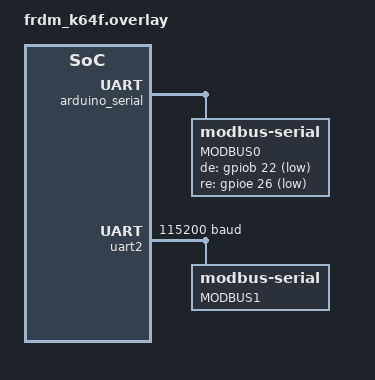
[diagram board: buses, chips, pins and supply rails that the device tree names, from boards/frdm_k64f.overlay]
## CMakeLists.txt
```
# Copyright (c) 2020 PHYTEC Messtechnik GmbH
# SPDX-License-Identifier: Apache-2.0

cmake_minimum_required(VERSION 3.13.1)

find_package(Zephyr REQUIRED HINTS $ENV{ZEPHYR_BASE})
project(test_modbus)

target_sources(app PRIVATE
    src/main.c
    src/test_modbus_client.c
    src/test_modbus_server.c
    src/test_modbus_raw.c
    )
```

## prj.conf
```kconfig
# Copyright (c) 2020 PHYTEC Messtechnik GmbH
# SPDX-License-Identifier: Apache-2.0

CONFIG_LOG=y
CONFIG_ZTEST=y
CONFIG_SERIAL=y
CONFIG_UART_INTERRUPT_DRIVEN=y
CONFIG_UART_LINE_CTRL=n
CONFIG_MODBUS_ASCII_MODE=y

CONFIG_MODBUS=y
CONFIG_MODBUS_RAW_ADU=y
CONFIG_MODBUS_NUMOF_RAW_ADU=2
```

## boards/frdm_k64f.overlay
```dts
/*
 * Copyright (c) 2020 Phytec Messtechnik GmbH
 *
 * SPDX-License-Identifier: Apache-2.0
 */

&arduino_serial {
	status = "okay";

	modbus0 {
		compatible = "zephyr,modbus-serial";
		label = "MODBUS0";
		status = "okay";
		de-gpios = <&gpiob 22 GPIO_ACTIVE_LOW>;	/* red LED */
		re-gpios = <&gpioe 26 GPIO_ACTIVE_LOW>;	/* green LED */
	};
};

&uart2 {
	status = "okay";
	current-speed = <115200>;

	modbus1 {
		compatible = "zephyr,modbus-serial";
		label = "MODBUS1";
		status = "okay";
	};
};
```

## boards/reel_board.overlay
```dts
/*
 * Copyright (c) 2020 Phytec Messtechnik GmbH
 *
 * SPDX-License-Identifier: Apache-2.0
 */

&arduino_serial {
	status = "okay";

	modbus0 {
		compatible = "zephyr,modbus-serial";
		label = "MODBUS0";
		status = "okay";
	};
};
```

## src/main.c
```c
/*
 * Copyright (c) 2020 PHYTEC Messtechnik GmbH
 *
 * SPDX-License-Identifier: Apache-2.0
 */

#include "test_modbus.h"

void test_main(void)
{
	ztest_test_suite(modbus_client_test,
			 ztest_unit_test(test_server_setup_low_none),
			 ztest_unit_test(test_client_setup_low_none),
			 ztest_unit_test(test_coil_wr_rd),
			 ztest_unit_test(test_di_rd),
			 ztest_unit_test(test_input_reg),
			 ztest_unit_test(test_holding_reg),
			 ztest_unit_test(test_diagnostic),
			 ztest_unit_test(test_client_disable),
			 ztest_unit_test(test_server_disable),
			 ztest_unit_test(test_server_setup_low_odd),
			 ztest_unit_test(test_client_setup_low_odd),
			 ztest_unit_test(test_coil_wr_rd),
			 ztest_unit_test(test_di_rd),
			 ztest_unit_test(test_input_reg),
			 ztest_unit_test(test_holding_reg),
			 ztest_unit_test(test_diagnostic),
			 ztest_unit_test(test_client_disable),
			 ztest_unit_test(test_server_disable),
			 ztest_unit_test(test_server_setup_high_even),
			 ztest_unit_test(test_client_setup_high_even),
			 ztest_unit_test(test_coil_wr_rd),
			 ztest_unit_test(test_di_rd),
			 ztest_unit_test(test_input_reg),
			 ztest_unit_test(test_holding_reg),
			 ztest_unit_test(test_diagnostic),
			 ztest_unit_test(test_client_disable),
			 ztest_unit_test(test_server_disable),
			 ztest_unit_test(test_server_setup_ascii),
			 ztest_unit_test(test_client_setup_ascii),
			 ztest_unit_test(test_coil_wr_rd),
			 ztest_unit_test(test_di_rd),
			 ztest_unit_test(test_input_reg),
			 ztest_unit_test(test_holding_reg),
			 ztest_unit_test(test_diagnostic),
			 ztest_unit_test(test_client_disable),
			 ztest_unit_test(test_server_disable),
			 ztest_unit_test(test_server_setup_raw),
			 ztest_unit_test(test_client_setup_raw),
			 ztest_unit_test(test_coil_wr_rd),
			 ztest_unit_test(test_di_rd),
			 ztest_unit_test(test_input_reg),
			 ztest_unit_test(test_holding_reg),
			 ztest_unit_test(test_diagnostic),
			 ztest_unit_test(test_client_disable),
			 ztest_unit_test(test_server_disable)
			 );
	ztest_run_test_suite(modbus_client_test);
}
```

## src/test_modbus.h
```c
/*
 * Copyright (c) 2020 PHYTEC Messtechnik GmbH
 *
 * SPDX-License-Identifier: Apache-2.0
 */

#ifndef __TEST_MODBUS_H__
#define __TEST_MODBUS_H__

#include <drivers/uart.h>
#include <ztest.h>
#include <modbus/modbus.h>

#define MB_TEST_BAUDRATE_LOW	9600
#define MB_TEST_BAUDRATE_HIGH	115200
#define MB_TEST_PARITY		UART_CFG_PARITY_NONE
#define MB_TEST_RESPONSE_TO	50000
#define MB_TEST_NODE_ADDR	0x01
#define MB_TEST_FP_OFFSET	5000

/*
 * Integration platform for this test is FRDM-K64F.
 * The board must be prepared accordingly:
 * UART1(PTB16)-RX <-> UART2(PTD3)-TX pins and
 * UART1(PTB17)-TX <-> UART2(PTD2)-RX pins have to be connected.
 */

uint8_t test_get_client_iface(void);
uint8_t test_get_server_iface(void);

void test_server_setup_low_none(void);
void test_server_setup_low_odd(void);
void test_server_setup_high_even(void);
void test_server_setup_ascii(void);
void test_server_setup_raw(void);
void test_server_disable(void);

void test_client_setup_low_none(void);
void test_client_setup_low_odd(void);
void test_client_setup_high_even(void);
void test_client_setup_ascii(void);
void test_client_setup_raw(void);
void test_coil_wr_rd(void);
void test_di_rd(void);
void test_input_reg(void);
void test_holding_reg(void);
void test_diagnostic(void);
void test_client_disable(void);

int client_raw_cb(const int iface, const struct modbus_adu *adu);
int server_raw_cb(const int iface, const struct modbus_adu *adu);

#endif /* __TEST_MODBUS_H__ */
```

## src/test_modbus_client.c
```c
/*
 * Copyright (c) 2020 PHYTEC Messtechnik GmbH
 *
 * SPDX-License-Identifier: Apache-2.0
 */

#include "test_modbus.h"

#include <logging/log.h>
LOG_MODULE_REGISTER(mbc_test, LOG_LEVEL_INF);

#ifdef CONFIG_MODBUS_CLIENT
const static uint16_t fp_offset = MB_TEST_FP_OFFSET;
const static uint8_t node = MB_TEST_NODE_ADDR;
const static uint16_t offset_oor = 32;
const static uint16_t fp_offset_oor = fp_offset + offset_oor;

static uint8_t client_iface;

uint8_t test_get_client_iface(void)
{
	return client_iface;
}

void test_coil_wr_rd(void)
{
	const uint8_t coil_qty = 16;
	uint8_t coil[3] = {0};
	int err;

	for (uint16_t idx = 0; idx < coil_qty; idx++) {
		err = modbus_write_coil(client_iface, node, idx, true);
		zassert_equal(err, 0, "FC05 request failed");
	}

	err = modbus_read_coils(client_iface, node, 0, coil, coil_qty);
	zassert_equal(err, 0, "FC01 request failed");

	zassert_equal(coil[0], 0xff, "FC05 verify coil 0-7 failed");
	zassert_equal(coil[1], 0xff, "FC05 verify coil 8-15 failed");

	for (uint16_t numof = 1; numof <= coil_qty; numof++) {
		err = modbus_write_coils(client_iface, node, 0, coil, numof);
		zassert_equal(err, 0, "FC15 request failed");
	}

	coil[0] = 0xaa; coil[1] = 0xbb;
	err = modbus_write_coils(client_iface, node, 0, coil, coil_qty);
	zassert_equal(err, 0, "FC15 request failed");

	err = modbus_read_coils(client_iface, node, 0, coil, coil_qty);
	zassert_equal(err, 0, "FC01 request failed");

	zassert_equal(coil[0], 0xaa, "FC15 verify coil 0-7 failed");
	zassert_equal(coil[1], 0xbb, "FC15 verify coil 8-15 failed");

	err = modbus_write_coil(client_iface, node, offset_oor, true);
	zassert_not_equal(err, 0, "FC05 out of range request not failed");

	err = modbus_write_coils(client_iface, node, offset_oor, coil, coil_qty);
	zassert_not_equal(err, 0, "FC15 out of range request not failed");
}

void test_di_rd(void)
{
	const uint8_t di_qty = 16;
	uint8_t di[4] = {0};
	int err;

	err = modbus_read_dinputs(client_iface, node, 0, di, di_qty);
	zassert_equal(err, 0, "FC02 request failed");

	zassert_equal(di[0], 0xaa, "FC02 verify di 0-7 failed");
	zassert_equal(di[1], 0xbb, "FC02 verify di 8-15 failed");

	err = modbus_read_dinputs(client_iface, node, 0, di, di_qty + 1);
	zassert_not_equal(err, 0, "FC02 out of range request not failed");

	err = modbus_read_dinputs(client_iface, node, offset_oor, di, di_qty);
	zassert_not_equal(err, 0, "FC02 out of range request not failed");
}

void test_input_reg(void)
{
	uint16_t ir[8] = {0};
	int err;

	err = modbus_write_holding_reg(client_iface, node, 0, 0xcafe);
	zassert_equal(err, 0, "FC06 write request for FC04 failed");

	err = modbus_read_input_regs(client_iface, node, 0, ir, ARRAY_SIZE(ir));
	zassert_equal(err, 0, "FC04 request failed");

	zassert_equal(ir[0], 0xcafe, "FC04 verify failed");

	err = modbus_read_input_regs(client_iface,
				     node,
				     offset_oor,
				     ir,
				     ARRAY_SIZE(ir));
	zassert_not_equal(err, 0, "FC04 out of range request not failed");
}

void test_holding_reg(void)
{
	uint16_t hr_wr[8] = {0, 2, 1, 3, 5, 4, 7, 6};
	uint16_t hr_rd[8] = {0};
	float fhr_wr[4] = {48.56470489501953125, 0.3, 0.2, 0.1};
	float fhr_rd[4] = {0.0};
	int err;

	/* Test FC06 | FC03 */
	for (uint16_t idx = 0; idx < ARRAY_SIZE(hr_wr); idx++) {
		err = modbus_write_holding_reg(client_iface, node, idx, hr_wr[idx]);
		zassert_equal(err, 0, "FC06 write request failed");
	}

	err = modbus_write_holding_reg(client_iface, node, offset_oor, 0xcafe);
	zassert_not_equal(err, 0, "FC06 out of range request not failed");

	err = modbus_read_holding_regs(client_iface, node, 0,
				       hr_rd, ARRAY_SIZE(hr_rd));
	zassert_equal(err, 0, "FC03 read request failed");

	LOG_HEXDUMP_DBG(hr_rd, sizeof(hr_rd), "FC06, hr_rd");
	zassert_equal(memcmp(hr_wr, hr_rd, sizeof(hr_wr)), 0,
		      "FC06 verify failed");

	err = modbus_read_holding_regs(client_iface,
				       node,
				       offset_oor,
				       hr_rd,
				       ARRAY_SIZE(hr_rd));
	zassert_not_equal(err, 0, "FC03 out of range request not failed");

	/* Test FC16 | FC03 */
	err = modbus_write_holding_regs(client_iface, node, 0,
					hr_wr, ARRAY_SIZE(hr_wr));
	zassert_equal(err, 0, "FC16 write request failed");

	err = modbus_read_holding_regs(client_iface, node, 0,
				       hr_rd, ARRAY_SIZE(hr_rd));
	zassert_equal(err, 0, "FC03 read request failed");

	LOG_HEXDUMP_DBG(hr_rd, sizeof(hr_rd), "FC16, hr_rd");
	zassert_equal(memcmp(hr_wr, hr_rd, sizeof(hr_wr)), 0,
		      "FC16 verify failed");

	/* Test FC16 | FC03 */
	for (uint16_t idx = 0; idx < ARRAY_SIZE(fhr_wr); idx++) {
		err = modbus_write_holding_regs_fp(client_iface,
						 node,
						 fp_offset + idx,
						 &fhr_wr[0], 1);
		zassert_equal(err, 0, "FC16 write request failed");
	}

	err = modbus_write_holding_regs_fp(client_iface,
					   node,
					   fp_offset,
					   fhr_wr,
					   ARRAY_SIZE(fhr_wr));
	zassert_equal(err, 0, "FC16 FP request failed");

	err = modbus_write_holding_regs_fp(client_iface,
					   node,
					   fp_offset_oor,
					   fhr_wr,
					   ARRAY_SIZE(fhr_wr));
	zassert_not_equal(err, 0, "FC16 FP out of range request not failed");

	err = modbus_read_holding_regs_fp(client_iface,
					  node,
					  fp_offset_oor,
					  fhr_wr,
					  ARRAY_SIZE(fhr_wr));
	zassert_not_equal(err, 0, "FC16 FP out of range request not failed");

	err = modbus_read_holding_regs_fp(client_iface,
					  node,
					  fp_offset,
					  fhr_rd,
					  ARRAY_SIZE(fhr_rd));
	zassert_equal(err, 0, "FC03 read request failed");

	LOG_HEXDUMP_DBG(fhr_rd, sizeof(fhr_rd), "FC16FP, fhr_rd");
	zassert_equal(memcmp(fhr_wr, fhr_rd, sizeof(fhr_wr)), 0,
		      "FC16FP verify failed");
}

void test_diagnostic(void)
{
	uint16_t data = 0xcafe;
	int err;

	for (uint16_t sf = 0x0A; sf < 0x0F; sf++) {
		err = modbus_request_diagnostic(client_iface, node, sf, 0, &data);
		zassert_equal(err, 0, "FC08:0x%04x request failed", sf);
	}

	err = modbus_request_diagnostic(client_iface, node, 0xFF, 0, &data);
	zassert_not_equal(err, 0, "FC08 not supported request not failed");
}

static struct modbus_iface_param client_param = {
	.mode = MODBUS_MODE_RTU,
	.rx_timeout = MB_TEST_RESPONSE_TO,
	.serial = {
		.baud = MB_TEST_BAUDRATE_LOW,
		.parity = UART_CFG_PARITY_ODD,
	},
};

void test_client_setup_low_none(void)
{
	int err;
	const char iface_name[] = {DT_PROP_OR(DT_INST(0, zephyr_modbus_serial),
					      label, "")};

	client_iface = modbus_iface_get_by_name(iface_name);
	client_param.mode = MODBUS_MODE_RTU;
	client_param.serial.baud = MB_TEST_BAUDRATE_LOW;
	client_param.serial.parity = UART_CFG_PARITY_NONE;

	err = modbus_init_client(client_iface, client_param);
	zassert_equal(err, 0, "Failed to configure RTU client");
}

void test_client_setup_low_odd(void)
{
	int err;
	const char iface_name[] = {DT_PROP_OR(DT_INST(0, zephyr_modbus_serial),
					      label, "")};

	client_iface = modbus_iface_get_by_name(iface_name);
	client_param.mode = MODBUS_MODE_RTU;
	client_param.serial.baud = MB_TEST_BAUDRATE_LOW;
	client_param.serial.parity = UART_CFG_PARITY_ODD;

	err = modbus_init_client(client_iface, client_param);
	zassert_equal(err, 0, "Failed to configure RTU client");
}

void test_client_setup_high_even(void)
{
	int err;
	const char iface_name[] = {DT_PROP_OR(DT_INST(0, zephyr_modbus_serial),
					      label, "")};

	client_iface = modbus_iface_get_by_name(iface_name);
	client_param.mode = MODBUS_MODE_RTU;
	client_param.serial.baud = MB_TEST_BAUDRATE_HIGH;
	client_param.serial.parity = UART_CFG_PARITY_EVEN;

	err = modbus_init_client(client_iface, client_param);
	zassert_equal(err, 0, "Failed to configure RTU client");
}

void test_client_setup_ascii(void)
{
	int err;
	const char iface_name[] = {DT_PROP_OR(DT_INST(0, zephyr_modbus_serial),
					      label, "")};

	client_iface = modbus_iface_get_by_name(iface_name);
	client_param.mode = MODBUS_MODE_ASCII;
	client_param.serial.baud = MB_TEST_BAUDRATE_HIGH;
	client_param.serial.parity = UART_CFG_PARITY_EVEN;

	err = modbus_init_client(client_iface, client_param);

	zassert_equal(err, 0, "Failed to configure RTU client");
}

void test_client_setup_raw(void)
{
	char iface_name[] = "RAW_0";
	int err;

	client_iface = modbus_iface_get_by_name(iface_name);
	client_param.mode = MODBUS_MODE_RAW;
	client_param.raw_tx_cb = client_raw_cb;

	err = modbus_init_client(client_iface, client_param);
	zassert_equal(err, 0, "Failed to configure RAW client");
}

void test_client_disable(void)
{
	int err;

	err = modbus_disable(client_iface);
	zassert_equal(err, 0, "Failed to disable RTU client");
}

#else

void test_client_setup_low_none(void)
{
	ztest_test_skip();
}

void test_client_setup_low_odd(void)
{
	ztest_test_skip();
}

void test_client_setup_high_even(void)
{
	ztest_test_skip();
}

void test_client_setup_ascii(void)
{
	ztest_test_skip();
}

void test_coil_wr_rd(void)
{
	ztest_test_skip();
}

void test_di_rd(void)
{
	ztest_test_skip();
}

void test_input_reg(void)
{
	ztest_test_skip();
}

void test_holding_reg(void)
{
	ztest_test_skip();
}

void test_diagnostic(void)
{
	ztest_test_skip();
}

void test_client_disable(void)
{
	ztest_test_skip();
}

void test_client_setup_raw(void)
{
	ztest_test_skip();
}
#endif
```

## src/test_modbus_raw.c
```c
/*
 * Copyright (c) 2021 Nordic Semiconductor ASA
 *
 * SPDX-License-Identifier: Apache-2.0
 */

#include "test_modbus.h"

#include <logging/log.h>
LOG_MODULE_REGISTER(raw_test, LOG_LEVEL_INF);

static struct modbus_adu tmp_adu;
K_SEM_DEFINE(received, 0, 1);

/*
 * Server wants to send the data back.
 * We just store them in between and pass them to the client.
 */
int server_raw_cb(const int iface, const struct modbus_adu *adu)
{
	LOG_DBG("Server raw callback from interface %d", iface);

	tmp_adu.trans_id = adu->trans_id;
	tmp_adu.proto_id = adu->proto_id;
	tmp_adu.length = adu->length;
	tmp_adu.unit_id = adu->unit_id;
	tmp_adu.fc = adu->fc;
	memcpy(tmp_adu.data, adu->data,
	       MIN(adu->length, sizeof(tmp_adu.data)));

	LOG_HEXDUMP_DBG(tmp_adu.data, tmp_adu.length, "resp");
	k_sem_give(&received);

	return 0;
}

/*
 * Client wants to send the data via whatever.
 * We just store it in between and submit to the server.
 */
int client_raw_cb(const int iface, const struct modbus_adu *adu)
{
	uint8_t server_iface = test_get_server_iface();
	uint8_t client_iface = test_get_client_iface();

	LOG_DBG("Client raw callback from interface %d", iface);

	tmp_adu.trans_id = adu->trans_id;
	tmp_adu.proto_id = adu->proto_id;
	tmp_adu.length = adu->length;
	tmp_adu.unit_id = adu->unit_id;
	tmp_adu.fc = adu->fc;
	memcpy(tmp_adu.data, adu->data,
	       MIN(adu->length, sizeof(tmp_adu.data)));

	LOG_HEXDUMP_DBG(tmp_adu.data, tmp_adu.length, "c->s");

	/*
	 * modbus_raw_submit_rx() copies the data to the internal memory
	 * so that tmp_adu can be used immediately afterwards.
	 */
	modbus_raw_submit_rx(server_iface, &tmp_adu);

	if (k_sem_take(&received, K_MSEC(1000)) != 0) {
		zassert_true(0, "MODBUS RAW wait time expired");
	}

	modbus_raw_submit_rx(client_iface, &tmp_adu);

	return 0;
}
```

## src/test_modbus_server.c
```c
/*
 * Copyright (c) 2020 PHYTEC Messtechnik GmbH
 *
 * SPDX-License-Identifier: Apache-2.0
 */

#include "test_modbus.h"

#include <logging/log.h>
LOG_MODULE_REGISTER(mbs_test, LOG_LEVEL_INF);

const static uint16_t fp_offset = MB_TEST_FP_OFFSET;
static uint16_t coils;
static uint16_t holding_reg[8];
static float holding_fp[4];

uint8_t server_iface;

uint8_t test_get_server_iface(void)
{
	return server_iface;
}

static int coil_rd(uint16_t addr, bool *state)
{
	if (addr >= (sizeof(coils) * 8)) {
		return -ENOTSUP;
	}

	if (coils & BIT(addr)) {
		*state = true;
	} else {
		*state = false;
	}

	LOG_DBG("Coil read, addr %u, %d", addr, (int)*state);

	return 0;
}

static int coil_wr(uint16_t addr, bool state)
{
	if (addr >= (sizeof(coils) * 8)) {
		return -ENOTSUP;
	}

	if (state == true) {
		coils |= BIT(addr);
	} else {
		coils &= ~BIT(addr);
	}

	LOG_DBG("Coil write, addr %u, %d", addr, (int)state);

	return 0;
}

static int discrete_input_rd(uint16_t addr, bool *state)
{
	if (addr >= (sizeof(coils) * 8)) {
		return -ENOTSUP;
	}

	if (coils & BIT(addr)) {
		*state = true;
	} else {
		*state = false;
	}

	LOG_DBG("Discrete input read, addr %u, %d", addr, (int)*state);

	return 0;
}

static int input_reg_rd(uint16_t addr, uint16_t *reg)
{
	if (addr >= ARRAY_SIZE(holding_reg)) {
		return -ENOTSUP;
	}

	*reg = holding_reg[addr];

	LOG_DBG("Input register read, addr %u, 0x%04x", addr, *reg);

	return 0;
}

static int input_reg_rd_fp(uint16_t addr, float *reg)
{
	if ((addr < fp_offset) ||
	    (addr >= (ARRAY_SIZE(holding_fp) + fp_offset))) {
		return -ENOTSUP;
	}

	*reg = holding_fp[addr - fp_offset];

	LOG_DBG("FP input register read, addr %u", addr);

	return 0;
}

static int holding_reg_rd(uint16_t addr, uint16_t *reg)
{
	if (addr >= ARRAY_SIZE(holding_reg)) {
		return -ENOTSUP;
	}

	*reg = holding_reg[addr];

	LOG_DBG("Holding register read, addr %u", addr);

	return 0;
}

static int holding_reg_wr(uint16_t addr, uint16_t reg)
{
	if (addr >= ARRAY_SIZE(holding_reg)) {
		return -ENOTSUP;
	}

	holding_reg[addr] = reg;

	LOG_DBG("Holding register write, addr %u", addr);

	return 0;
}

static int holding_reg_rd_fp(uint16_t addr, float *reg)
{
	if ((addr < fp_offset) ||
	    (addr >= (ARRAY_SIZE(holding_fp) + fp_offset))) {
		return -ENOTSUP;
	}

	*reg = holding_fp[addr - fp_offset];

	LOG_DBG("FP holding register read, addr %u", addr);

	return 0;
}

static int holding_reg_wr_fp(uint16_t addr, float reg)
{
	if ((addr < fp_offset) ||
	    (addr >= (ARRAY_SIZE(holding_fp) + fp_offset))) {
		return -ENOTSUP;
	}

	holding_fp[addr - fp_offset] = reg;

	LOG_DBG("FP holding register write, addr %u", addr);

	return 0;
}

static struct modbus_user_callbacks mbs_cbs = {
	/** Coil read/write callback */
	.coil_rd = coil_rd,
	.coil_wr = coil_wr,
	/* Discrete Input read callback */
	.discrete_input_rd = discrete_input_rd,
	/* Input Register read callback */
	.input_reg_rd = input_reg_rd,
	/* Floating Point Input Register read callback */
	.input_reg_rd_fp = input_reg_rd_fp,
	/* Holding Register read/write callback */
	.holding_reg_rd = holding_reg_rd,
	.holding_reg_wr = holding_reg_wr,
	/* Floating Point Holding Register read/write callback */
	.holding_reg_rd_fp = holding_reg_rd_fp,
	.holding_reg_wr_fp = holding_reg_wr_fp,
};

static struct modbus_iface_param server_param = {
	.mode = MODBUS_MODE_RTU,
	.server = {
		.user_cb = &mbs_cbs,
		.unit_id = MB_TEST_NODE_ADDR,
	},
	.serial = {
		.baud = MB_TEST_BAUDRATE_LOW,
		.parity = UART_CFG_PARITY_ODD,
	},
};

void test_server_setup_low_odd(void)
{
	int err;
	const char iface_name[] = {DT_PROP_OR(DT_INST(1, zephyr_modbus_serial),
					      label, "")};

	server_iface = modbus_iface_get_by_name(iface_name);
	server_param.mode = MODBUS_MODE_RTU;
	server_param.serial.baud = MB_TEST_BAUDRATE_LOW;
	server_param.serial.parity = UART_CFG_PARITY_ODD;

	if (IS_ENABLED(CONFIG_MODBUS_SERVER)) {
		err = modbus_init_server(server_iface, server_param);
		zassert_equal(err, 0, "Failed to configure RTU server");
	} else {
		ztest_test_skip();
	}
}

void test_server_setup_low_none(void)
{
	int err;
	const char iface_name[] = {DT_PROP_OR(DT_INST(1, zephyr_modbus_serial),
					      label, "")};

	server_iface = modbus_iface_get_by_name(iface_name);
	server_param.mode = MODBUS_MODE_RTU;
	server_param.serial.baud = MB_TEST_BAUDRATE_LOW;
	server_param.serial.parity = UART_CFG_PARITY_NONE;

	if (IS_ENABLED(CONFIG_MODBUS_SERVER)) {
		err = modbus_init_server(server_iface, server_param);
		zassert_equal(err, 0, "Failed to configure RTU server");
	} else {
		ztest_test_skip();
	}
}

void test_server_setup_high_even(void)
{
	int err;
	const char iface_name[] = {DT_PROP_OR(DT_INST(1, zephyr_modbus_serial),
					      label, "")};

	server_iface = modbus_iface_get_by_name(iface_name);
	server_param.mode = MODBUS_MODE_RTU;
	server_param.serial.baud = MB_TEST_BAUDRATE_HIGH;
	server_param.serial.parity = UART_CFG_PARITY_EVEN;

	if (IS_ENABLED(CONFIG_MODBUS_SERVER)) {
		err = modbus_init_server(server_iface, server_param);
		zassert_equal(err, 0, "Failed to configure RTU server");
	} else {
		ztest_test_skip();
	}
}

void test_server_setup_ascii(void)
{
	int err;
	const char iface_name[] = {DT_PROP_OR(DT_INST(1, zephyr_modbus_serial),
					      label, "")};

	server_iface = modbus_iface_get_by_name(iface_name);
	server_param.mode = MODBUS_MODE_ASCII;
	server_param.serial.baud = MB_TEST_BAUDRATE_HIGH;
	server_param.serial.parity = UART_CFG_PARITY_EVEN;

	if (IS_ENABLED(CONFIG_MODBUS_SERVER)) {
		err = modbus_init_server(server_iface, server_param);
		zassert_equal(err, 0, "Failed to configure RTU server");
	} else {
		ztest_test_skip();
	}
}

void test_server_setup_raw(void)
{
	char iface_name[] = "RAW_1";
	int err;

	server_iface = modbus_iface_get_by_name(iface_name);
	server_param.mode = MODBUS_MODE_RAW;
	server_param.raw_tx_cb = server_raw_cb;

	if (IS_ENABLED(CONFIG_MODBUS_SERVER)) {
		err = modbus_init_server(server_iface, server_param);
		zassert_equal(err, 0, "Failed to configure RAW server");
	} else {
		ztest_test_skip();
	}
}

void test_server_disable(void)
{
	int err;

	if (IS_ENABLED(CONFIG_MODBUS_SERVER)) {
		err = modbus_disable(server_iface);
		zassert_equal(err, 0, "Failed to disable RTU server");
	} else {
		ztest_test_skip();
	}
}
```
